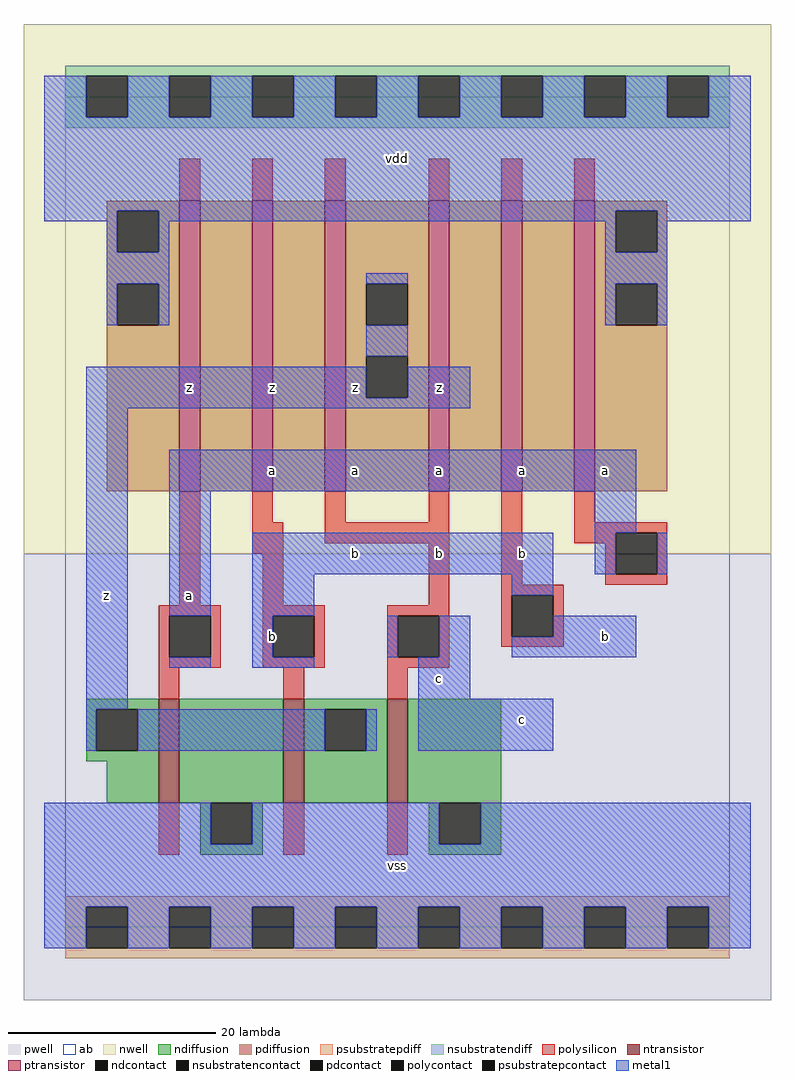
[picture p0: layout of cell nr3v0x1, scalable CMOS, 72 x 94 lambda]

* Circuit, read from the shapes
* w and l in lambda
.subckt nr3v0x1 a b c vdd vss z
M1 vss a z vss nfet w=10 l=2
M2 z b vss vss nfet w=10 l=2
M3 vss c z vss nfet w=10 l=2
M4 n1 a vdd vdd pfet w=28 l=2
M5 n2 b n1 vdd pfet w=28 l=2
M6 z c n2 vdd pfet w=28 l=2
M7 n3 c z vdd pfet w=28 l=2
M8 n4 b n3 vdd pfet w=28 l=2
M9 vdd a n4 vdd pfet w=28 l=2
.ends

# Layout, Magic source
magic
tech scmos
<< ab >>
rect 0 0 64 80
<< pwell >>
rect -4 -7 68 36
<< nwell >>
rect -4 36 68 87
<< polysilicon >>
rect 11 70 13 74
rect 18 70 20 74
rect 25 70 27 74
rect 35 70 37 74
rect 42 70 44 74
rect 49 70 51 74
rect 11 31 13 42
rect 18 39 20 42
rect 25 39 27 42
rect 35 39 37 42
rect 18 36 21 39
rect 25 37 37 39
rect 19 31 21 36
rect 35 31 37 37
rect 9 30 15 31
rect 9 26 10 30
rect 14 26 15 30
rect 9 25 15 26
rect 19 30 25 31
rect 19 26 20 30
rect 24 26 25 30
rect 19 25 25 26
rect 31 30 37 31
rect 31 26 32 30
rect 36 26 37 30
rect 42 33 44 42
rect 49 39 51 42
rect 49 38 58 39
rect 49 37 53 38
rect 52 34 53 37
rect 57 34 58 38
rect 52 33 58 34
rect 42 32 48 33
rect 42 28 43 32
rect 47 28 48 32
rect 42 27 48 28
rect 31 25 37 26
rect 9 22 11 25
rect 21 22 23 25
rect 31 22 33 25
rect 9 7 11 12
rect 21 7 23 12
rect 31 7 33 12
<< ndiffusion >>
rect 2 21 9 22
rect 2 17 3 21
rect 7 17 9 21
rect 2 16 9 17
rect 4 12 9 16
rect 11 12 21 22
rect 23 21 31 22
rect 23 17 25 21
rect 29 17 31 21
rect 23 12 31 17
rect 33 12 42 22
rect 13 8 14 12
rect 18 8 19 12
rect 13 7 19 8
rect 35 8 36 12
rect 40 8 42 12
rect 35 7 42 8
<< pdiffusion >>
rect 4 69 11 70
rect 4 65 5 69
rect 9 65 11 69
rect 4 62 11 65
rect 4 58 5 62
rect 9 58 11 62
rect 4 42 11 58
rect 13 42 18 70
rect 20 42 25 70
rect 27 62 35 70
rect 27 58 29 62
rect 33 58 35 62
rect 27 55 35 58
rect 27 51 29 55
rect 33 51 35 55
rect 27 42 35 51
rect 37 42 42 70
rect 44 42 49 70
rect 51 69 58 70
rect 51 65 53 69
rect 57 65 58 69
rect 51 62 58 65
rect 51 58 53 62
rect 57 58 58 62
rect 51 42 58 58
<< metal1 >>
rect -2 78 2 82
rect 6 78 10 82
rect 14 78 18 82
rect 22 78 26 82
rect 30 78 34 82
rect 38 78 42 82
rect 46 78 50 82
rect 54 78 58 82
rect 62 78 66 82
rect -2 69 66 78
rect -2 68 5 69
rect 4 65 5 68
rect 9 68 53 69
rect 9 65 10 68
rect 4 62 10 65
rect 52 65 53 68
rect 57 68 66 69
rect 57 65 58 68
rect 4 58 5 62
rect 9 58 10 62
rect 29 62 33 63
rect 52 62 58 65
rect 52 58 53 62
rect 57 58 58 62
rect 29 55 33 58
rect 2 51 29 54
rect 33 51 39 54
rect 2 50 39 51
rect 2 21 6 50
rect 10 42 55 46
rect 10 30 14 42
rect 51 38 55 42
rect 10 25 14 26
rect 18 34 47 38
rect 51 34 53 38
rect 57 34 58 38
rect 18 30 24 34
rect 43 32 47 34
rect 18 26 20 30
rect 31 26 32 30
rect 36 26 39 30
rect 47 28 55 30
rect 43 26 55 28
rect 18 25 24 26
rect 34 22 39 26
rect 2 17 3 21
rect 7 17 25 21
rect 29 17 30 21
rect 34 17 47 22
rect -2 8 14 12
rect 18 8 36 12
rect 40 8 66 12
rect -2 2 66 8
rect -2 -2 2 2
rect 6 -2 10 2
rect 14 -2 18 2
rect 22 -2 26 2
rect 30 -2 34 2
rect 38 -2 42 2
rect 46 -2 50 2
rect 54 -2 58 2
rect 62 -2 66 2
<< ntransistor >>
rect 9 12 11 22
rect 21 12 23 22
rect 31 12 33 22
<< ptransistor >>
rect 11 42 13 70
rect 18 42 20 70
rect 25 42 27 70
rect 35 42 37 70
rect 42 42 44 70
rect 49 42 51 70
<< polycontact >>
rect 10 26 14 30
rect 20 26 24 30
rect 32 26 36 30
rect 53 34 57 38
rect 43 28 47 32
<< ndcontact >>
rect 3 17 7 21
rect 25 17 29 21
rect 14 8 18 12
rect 36 8 40 12
<< pdcontact >>
rect 5 65 9 69
rect 5 58 9 62
rect 29 58 33 62
rect 29 51 33 55
rect 53 65 57 69
rect 53 58 57 62
<< psubstratepcontact >>
rect 2 -2 6 2
rect 10 -2 14 2
rect 18 -2 22 2
rect 26 -2 30 2
rect 34 -2 38 2
rect 42 -2 46 2
rect 50 -2 54 2
rect 58 -2 62 2
<< nsubstratencontact >>
rect 2 78 6 82
rect 10 78 14 82
rect 18 78 22 82
rect 26 78 30 82
rect 34 78 38 82
rect 42 78 46 82
rect 50 78 54 82
rect 58 78 62 82
<< psubstratepdiff >>
rect 0 2 64 3
rect 0 -2 2 2
rect 6 -2 10 2
rect 14 -2 18 2
rect 22 -2 26 2
rect 30 -2 34 2
rect 38 -2 42 2
rect 46 -2 50 2
rect 54 -2 58 2
rect 62 -2 64 2
rect 0 -3 64 -2
<< nsubstratendiff >>
rect 0 82 64 83
rect 0 78 2 82
rect 6 78 10 82
rect 14 78 18 82
rect 22 78 26 82
rect 30 78 34 82
rect 38 78 42 82
rect 46 78 50 82
rect 54 78 58 82
rect 62 78 64 82
rect 0 77 64 78
<< labels >>
rlabel metal1 4 32 4 32 6 z
rlabel metal1 20 28 20 28 6 b
rlabel metal1 12 32 12 32 6 a
rlabel metal1 20 44 20 44 6 a
rlabel metal1 20 52 20 52 6 z
rlabel metal1 12 52 12 52 6 z
rlabel metal1 32 6 32 6 6 vss
rlabel metal1 36 24 36 24 6 c
rlabel metal1 28 36 28 36 6 b
rlabel metal1 28 44 28 44 6 a
rlabel metal1 36 36 36 36 6 b
rlabel metal1 36 44 36 44 6 a
rlabel metal1 36 52 36 52 6 z
rlabel metal1 28 52 28 52 6 z
rlabel metal1 32 74 32 74 6 vdd
rlabel metal1 44 20 44 20 6 c
rlabel metal1 44 36 44 36 6 b
rlabel metal1 44 44 44 44 6 a
rlabel metal1 52 28 52 28 6 b
rlabel metal1 52 44 52 44 6 a
<< end >>
